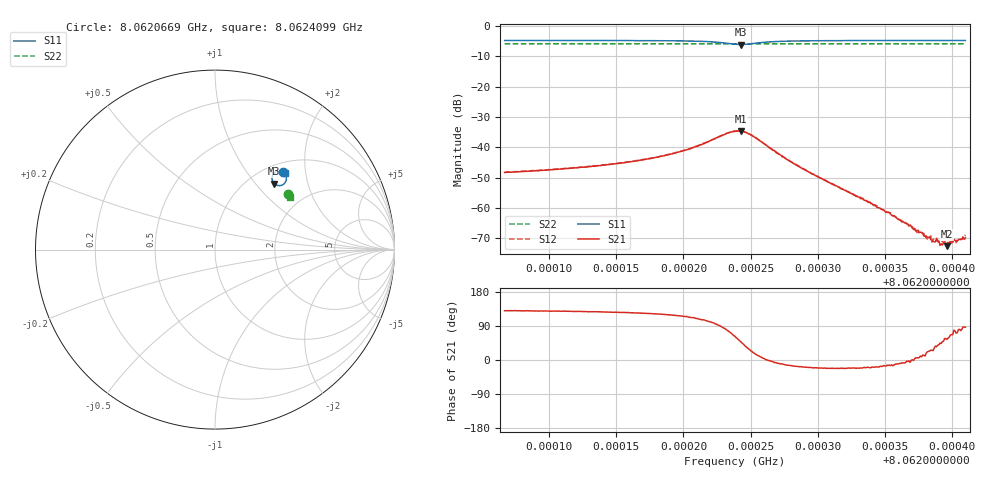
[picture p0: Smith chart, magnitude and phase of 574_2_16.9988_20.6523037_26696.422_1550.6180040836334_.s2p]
#  HZ  S  RI  R  50.00
! Rohde & Schwarz Vector Network Analyzer
! Rohde-Schwarz,ZNB20-2Port,1311601062101988,3.16
! Created: UTC 3/20/2024, 11:17:50 PM
! freq[Hz]  re:S11  im:S11  re:S21  im:S21  re:S12  im:S12  re:S22  im:S22
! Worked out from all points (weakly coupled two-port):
!   401 points, 8.0620669 GHz to 8.0624099 GHz, reference 50 ohm
!   highest |S21| = -34.62 dB at 8.0622427 GHz (marker M1); lowest = -72.6 dB at 8.0623962 GHz (marker M2)
!   lowest |S11| = -6.1 dB at 8.0622427 GHz (marker M3), VSWR 2.95, Z = 64.9 + j63 ohm
!   |S11| at or under -10 dB: nowhere
!   |S22| runs from -5.9 to -5.9 dB; largest |S21 - S12| = 0.0012
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8.0620669e9  0.3816 0.4315  -0.00246 0.00294  -0.00231 0.00312  0.4049 0.3078
8.06212436e9  0.3871 0.4255  -0.00289 0.00369  -0.00266 0.00389  0.4071 0.3047
8.06215523e9  0.3908 0.4205  -0.00323 0.00451  -0.00294 0.00478  0.4081 0.3029
8.06218181e9  0.3948 0.413  -0.00362 0.00597  -0.00325 0.00619  0.4092 0.3012
8.06220497e9  0.3981 0.3995  -0.00363 0.00866  -0.00319 0.00902  0.4098 0.2995
8.06222555e9  0.3889 0.3709  -0.000638 0.0145  0.000236 0.0147  0.4097 0.2975
8.06223842e9  0.3484 0.3574  0.00856 0.0163  0.00947 0.0158  0.4082 0.2967
8.0622427e9  0.3307 0.3667  0.0124 0.0138  0.0133 0.0131  0.4076 0.2973
8.06225214e9  0.3182 0.4041  0.0142 0.00491  0.0145 0.00418  0.408 0.2986
8.06227529e9  0.3503 0.4364  0.00653 -0.0014  0.00652 -0.0018  0.4106 0.2986
8.06229588e9  0.3654 0.4364  0.00338 -0.00127  0.00335 -0.00146  0.4119 0.2973
8.06235333e9  0.3809 0.4304  0.000818 -0.000192  0.000795 -0.000242  0.4145 0.2941
8.06237906e9  0.3846 0.4281  0.000335 7.34e-05  0.000373 6.91e-05  0.4153 0.2927
8.06238164e9  0.3848 0.4278  0.000309 0.000122  0.000284 8.9e-05  0.4155 0.2925
8.06238592e9  0.3853 0.4277  0.000256 0.000118  0.000291 9.88e-05  0.4156 0.2923
8.0623885e9  0.3855 0.4276  0.000259 0.00018  0.000252 0.000155  0.4156 0.2921
8.06239107e9  0.3858 0.4273  0.000172 0.000168  0.00022 0.000171  0.4156 0.2921
8.06239621e9  0.3864 0.4268  0.000137 0.00019  0.000166 0.000222  0.416 0.2918
8.06239879e9  0.3867 0.4266  0.000109 0.000244  0.000168 0.000233  0.4161 0.2916
8.0624005e9  0.3869 0.4266  0.000109 0.00025  0.000125 0.000245  0.4162 0.2915
8.06240479e9  0.3872 0.4262  4.91e-05 0.000295  7.42e-05 0.000295  0.4163 0.2912
8.06240994e9  0.3878 0.4257  1.94e-05 0.000322  1.82e-06 0.00036  0.4166 0.2911
